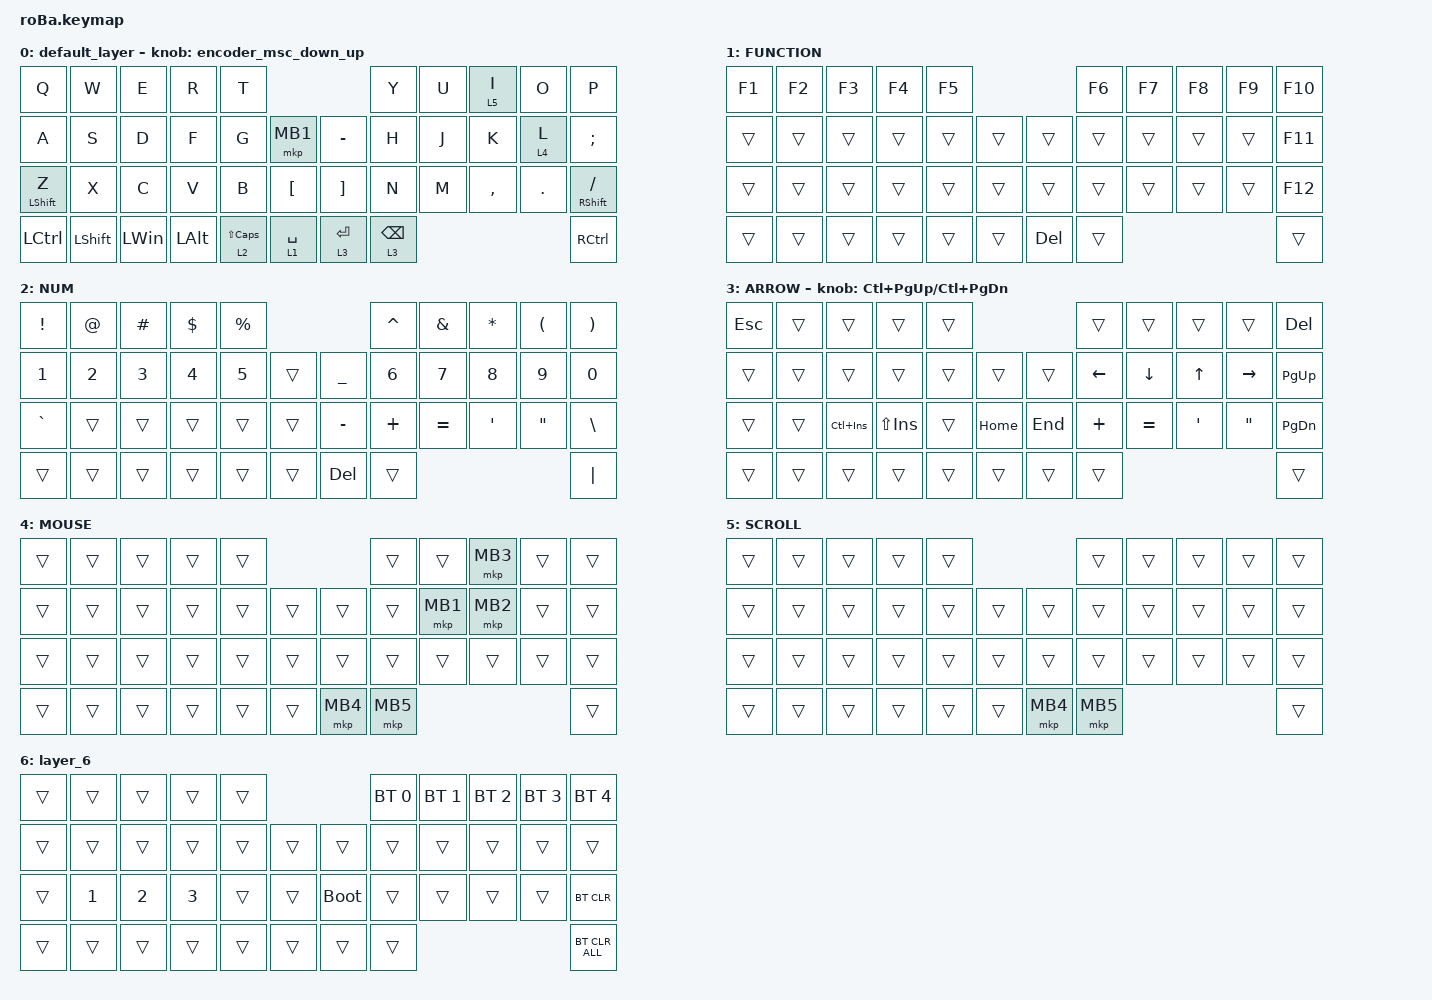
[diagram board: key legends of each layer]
#include <behaviors.dtsi>
#include <dt-bindings/zmk/bt.h>
#include <dt-bindings/zmk/keys.h>
#include <dt-bindings/zmk/pointing.h>

#define ZMK_POINTING_DEFAULT_SCRL_VAL 80

&mt {
    flavor = "balanced";
    quick-tap-ms = <0>;
};

&trackball {
    // automouse-layer = <4>;

    scroll-layers = <5>;

    // arrows {
    //     layers = <3>;
    //     bindings =
    //         <&kp RIGHT_ARROW>,
    //         <&kp LEFT_ARROW>,
    //         <&kp UP_ARROW>,
    //         <&kp DOWN_ARROW>;
    //     tick = <10>;
    //     wait-ms = <5>;
    //     tap-ms = <5>;
    // };
};

/ {
    combos {
        compatible = "zmk,combos";

        tab {
            bindings = <&kp TAB>;
            key-positions = <11 12>;
        };

        shift_tab {
            bindings = <&kp LS(TAB)>;
            key-positions = <12 13>;
        };

        muhennkann {
            bindings = <&to_layer_0 INT_MUHENKAN>;
            key-positions = <11 10>;
        };

        double_quotation {
            bindings = <&kp DOUBLE_QUOTES>;
            key-positions = <8 9>;
        };

        eq {
            bindings = <&kp EQUAL>;
            key-positions = <24 25>;
        };

        grave {
            bindings = <&kp GRAVE>;
            key-positions = <0 1>;
        };

        minus {
            bindings = <&kp MINUS>;
            key-positions = <20 21>;
        };

        Bluetooth_0 {
            bindings = <&bt BT_SEL 0>;
            key-positions = <0 10 22 34>;
        };

        Bluetooth_1 {
            bindings = <&bt BT_SEL 1>;
            key-positions = <1 11 35 23>;
        };

        Bluetooth_2 {
            bindings = <&bt BT_SEL 2>;
            key-positions = <12 2 12 24 36>;
        };

        Bluetooth_3 {
            bindings = <&bt BT_SEL 3>;
            key-positions = <3 13 25>;
        };

        Bluetooth_4 {
            bindings = <&bt BT_SEL 4>;
            key-positions = <4 14 26>;
        };

        Bluetooth_clear {
            bindings = <&bt BT_CLR>;
            key-positions = <9 21 33 42>;
        };
    };

    macros {
        to_layer_0: to_layer_0 {
            compatible = "zmk,behavior-macro-one-param";
            #binding-cells = <1>;
            bindings = <&to 0 &macro_param_1to1 &kp MACRO_PLACEHOLDER>;
            label = "TO_LAYER_0";
        };
    };

    behaviors {
        lt_to_layer_0: lt_to_layer_0 {
            compatible = "zmk,behavior-hold-tap";
            label = "LAYER_TAP_TO_0";
            bindings = <&mo>, <&to_layer_0>;

            #binding-cells = <2>;
            tapping-term-ms = <200>;
        };

        encoder_msc_down_up: encoder_msc_down_up {
            compatible = "zmk,behavior-sensor-rotate";
            label = "ENCODER_MSC_DOWN_UP";
            #sensor-binding-cells = <0>;
            bindings = <&msc SCRL_DOWN>, <&msc SCRL_UP>;

            tap-ms = <20>;
        };
    };

    keymap {
        compatible = "zmk,keymap";

        default_layer {
            bindings = <
&kp Q             &kp W           &kp E         &kp R         &kp T                                                                              &kp Y                       &kp U  &lt_to_layer_0 5 I  &kp O               &kp P
&kp A             &kp S           &kp D         &kp F         &kp G                          &mkp MB1                    &kp MINUS               &kp H                       &kp J  &kp K               &lt_to_layer_0 4 L  &kp SEMICOLON
&mt LEFT_SHIFT Z  &kp X           &kp C         &kp V         &kp B                          &kp LEFT_BRACKET            &kp RIGHT_BRACKET       &kp N                       &kp M  &kp COMMA           &kp DOT             &mt RIGHT_SHIFT SLASH
&kp LCTRL         &kp LEFT_SHIFT  &kp LEFT_WIN  &kp LEFT_ALT  &lt_to_layer_0 2 LS(CAPSLOCK)  &lt_to_layer_0 1 SPACE      &lt_to_layer_0 3 ENTER  &lt_to_layer_0 3 BACKSPACE                                                 &kp RCTRL
            >;

            sensor-bindings = <&encoder_msc_down_up>;
        };

        FUNCTION {
            bindings = <
&kp F1  &kp F2  &kp F3  &kp F4  &kp F5                       &kp F6  &kp F7  &kp F8  &kp F9  &kp F10
&trans  &trans  &trans  &trans  &trans  &trans      &trans   &trans  &trans  &trans  &trans  &kp F11
&trans  &trans  &trans  &trans  &trans  &trans      &trans   &trans  &trans  &trans  &trans  &kp F12
&trans  &trans  &trans  &trans  &trans  &trans      &kp DEL  &trans                          &trans
            >;
        };

        NUM {
            bindings = <
&kp EXCLAMATION  &kp AT_SIGN   &kp HASH      &kp DOLLAR    &kp PERCENT                              &kp CARET     &kp AMPERSAND  &kp ASTERISK  &kp LEFT_PARENTHESIS  &kp RIGHT_PARENTHESIS
&kp NUMBER_1     &kp NUMBER_2  &kp NUMBER_3  &kp NUMBER_4  &kp N5       &trans      &kp UNDERSCORE  &kp NUMBER_6  &kp N7         &kp N8        &kp N9                &kp N0
&kp GRAVE        &trans        &trans        &trans        &trans       &trans      &kp MINUS       &kp PLUS      &kp EQUAL      &kp SQT       &kp DOUBLE_QUOTES     &kp BACKSLASH
&trans           &trans        &trans        &trans        &trans       &trans      &kp DEL         &trans                                                           &kp PIPE
            >;
        };

        ARROW {
            bindings = <
&kp ESCAPE  &trans  &trans       &trans       &trans                         &trans    &trans          &trans        &trans           &kp DEL
&trans      &trans  &trans       &trans       &trans  &trans        &trans   &kp LEFT  &kp DOWN_ARROW  &kp UP_ARROW  &kp RIGHT_ARROW  &kp PAGE_UP
&trans      &trans  &kp LC(INS)  &kp LS(INS)  &trans  &kp HOME      &kp END  &kp PLUS  &kp EQUAL       &kp SQT       &kp DQT          &kp PAGE_DOWN
&trans      &trans  &trans       &trans       &trans  &trans        &trans   &trans                                                   &trans
            >;

            sensor-bindings = <&inc_dec_kp LC(PAGE_UP) LC(PAGE_DOWN)>;
        };

        MOUSE {
            bindings = <
&trans  &trans  &trans  &trans  &trans                        &trans    &trans    &mkp MB3  &trans  &trans
&trans  &trans  &trans  &trans  &trans  &trans      &trans    &trans    &mkp MB1  &mkp MB2  &trans  &trans
&trans  &trans  &trans  &trans  &trans  &trans      &trans    &trans    &trans    &trans    &trans  &trans
&trans  &trans  &trans  &trans  &trans  &trans      &mkp MB4  &mkp MB5                              &trans
            >;
        };

        SCROLL {
            bindings = <
&trans  &trans  &trans  &trans  &trans                        &trans    &trans  &trans  &trans  &trans
&trans  &trans  &trans  &trans  &trans  &trans      &trans    &trans    &trans  &trans  &trans  &trans
&trans  &trans  &trans  &trans  &trans  &trans      &trans    &trans    &trans  &trans  &trans  &trans
&trans  &trans  &trans  &trans  &trans  &trans      &mkp MB4  &mkp MB5                          &trans
            >;
        };

        layer_6 {
            bindings = <
&trans  &trans        &trans        &trans        &trans                           &bt BT_SEL 0  &bt BT_SEL 1  &bt BT_SEL 2  &bt BT_SEL 3  &bt BT_SEL 4
&trans  &trans        &trans        &trans        &trans  &trans      &trans       &trans        &trans        &trans        &trans        &trans
&trans  &kp NUMBER_1  &kp NUMBER_2  &kp NUMBER_3  &trans  &trans      &bootloader  &trans        &trans        &trans        &trans        &bt BT_CLR
&trans  &trans        &trans        &trans        &trans  &trans      &trans       &trans                                                  &bt BT_CLR_ALL
            >;
        };
    };
};
